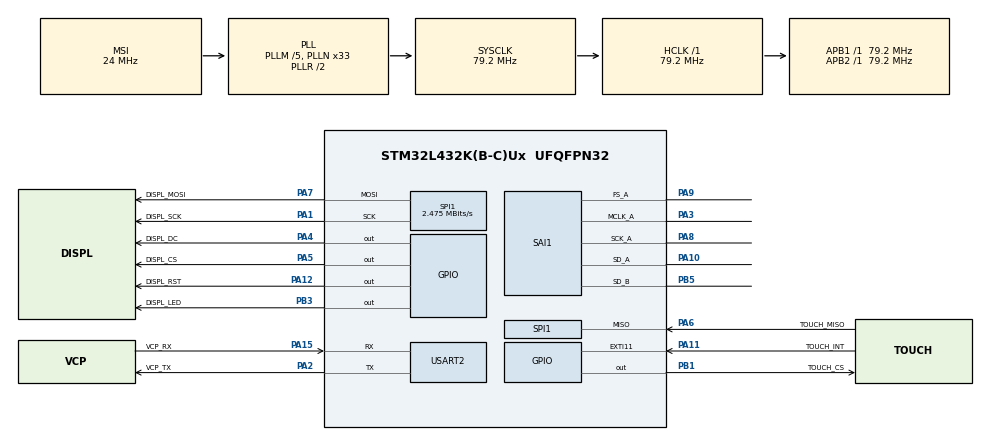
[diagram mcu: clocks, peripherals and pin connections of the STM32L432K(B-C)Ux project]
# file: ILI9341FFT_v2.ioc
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Dma.Request0=SPI1_TX
Dma.Request1=SAI1_A
Dma.Request2=SAI1_B
Dma.SAI1_A.1.Direction=DMA_MEMORY_TO_PERIPH
Dma.SAI1_A.1.Instance=DMA2_Channel1
Dma.SAI1_A.1.MemDataAlignment=DMA_MDATAALIGN_HALFWORD
Dma.SAI1_A.1.MemInc=DMA_MINC_ENABLE
Dma.SAI1_A.1.Mode=DMA_CIRCULAR
Dma.SAI1_A.1.PeriphDataAlignment=DMA_PDATAALIGN_HALFWORD
Dma.SAI1_A.1.PeriphInc=DMA_PINC_DISABLE
Dma.SAI1_A.1.Priority=DMA_PRIORITY_LOW
Dma.SAI1_B.2.Direction=DMA_PERIPH_TO_MEMORY
Dma.SAI1_B.2.Instance=DMA2_Channel2
Dma.SAI1_B.2.MemDataAlignment=DMA_MDATAALIGN_HALFWORD
Dma.SAI1_B.2.MemInc=DMA_MINC_ENABLE
Dma.SAI1_B.2.Mode=DMA_CIRCULAR
Dma.SAI1_B.2.PeriphDataAlignment=DMA_PDATAALIGN_HALFWORD
Dma.SAI1_B.2.PeriphInc=DMA_PINC_DISABLE
Dma.SAI1_B.2.Priority=DMA_PRIORITY_LOW
Dma.SPI1_TX.0.Direction=DMA_MEMORY_TO_PERIPH
Dma.SPI1_TX.0.Instance=DMA1_Channel3
Dma.SPI1_TX.0.MemDataAlignment=DMA_MDATAALIGN_BYTE
Dma.SPI1_TX.0.MemInc=DMA_MINC_ENABLE
Dma.SPI1_TX.0.Mode=DMA_NORMAL
Dma.SPI1_TX.0.PeriphDataAlignment=DMA_PDATAALIGN_BYTE
Dma.SPI1_TX.0.PeriphInc=DMA_PINC_DISABLE
Dma.SPI1_TX.0.Priority=DMA_PRIORITY_LOW
Mcu.Family=STM32L4
Mcu.Name=STM32L432K(B-C)Ux
Mcu.Package=UFQFPN32
NVIC.DMA1_Channel3_IRQn=true\:0\:0\:false\:false\:true\:false\:true\:true
NVIC.DMA2_Channel1_IRQn=true\:0\:0\:false\:false\:true\:false\:true\:true
NVIC.DMA2_Channel2_IRQn=true\:0\:0\:false\:false\:true\:false\:true\:true
NVIC.EXTI15_10_IRQn=true\:0\:0\:false\:false\:true\:true\:true\:true
NVIC.PriorityGroup=NVIC_PRIORITYGROUP_4
NVIC.SAI1_IRQn=true\:0\:0\:false\:false\:true\:true\:true\:true
NVIC.SPI1_IRQn=true\:0\:0\:false\:false\:true\:true\:true\:true
PA0.GPIO_Label=MCO [High speed clock in]
PA0.Mode=HSE-External-Clock-Source-for-LittleOrca
PA0.Signal=RCC_CK_IN
PA1.GPIO_Label=DISPL_SCK
PA1.Mode=Full_Duplex_Master
PA1.Signal=SPI1_SCK
PA10.Mode=SAI_A_MasterWithClock
PA10.Signal=SAI1_SD_A
PA11.GPIO_Label=TOUCH_INT
PA11.GPIO_ModeDefaultEXTI=GPIO_MODE_IT_FALLING
PA11.GPIO_PuPd=GPIO_PULLUP
PA11.Signal=GPXTI11
PA12.GPIO_Label=DISPL_RST
PA12.Signal=GPIO_Output
PA13\ (JTMS-SWDIO).GPIO_Label=SWDIO
PA13\ (JTMS-SWDIO).Mode=Serial_Wire
PA13\ (JTMS-SWDIO).Signal=SYS_JTMS-SWDIO
PA14\ (JTCK-SWCLK).GPIO_Label=SWCLK
PA14\ (JTCK-SWCLK).Mode=Serial_Wire
PA14\ (JTCK-SWCLK).Signal=SYS_JTCK-SWCLK
PA15\ (JTDI).GPIO_Label=VCP_RX
PA15\ (JTDI).Mode=Asynchronous
PA15\ (JTDI).Signal=USART2_RX
PA2.GPIO_Label=VCP_TX
PA2.Mode=Asynchronous
PA2.Signal=USART2_TX
PA3.Mode=SAI_A_MasterWithClock
PA3.Signal=SAI1_MCLK_A
PA4.GPIO_Label=DISPL_DC
PA4.GPIO_Speed=GPIO_SPEED_FREQ_HIGH
PA4.PinState=GPIO_PIN_SET
PA4.Signal=GPIO_Output
PA5.GPIO_Label=DISPL_CS
PA5.GPIO_Speed=GPIO_SPEED_FREQ_HIGH
PA5.PinState=GPIO_PIN_SET
PA5.Signal=GPIO_Output
PA6.GPIO_Label=TOUCH_MISO
PA6.Mode=Full_Duplex_Master
PA6.Signal=SPI1_MISO
PA7.GPIO_Label=DISPL_MOSI
PA7.Mode=Full_Duplex_Master
PA7.Signal=SPI1_MOSI
PA8.Mode=SAI_A_MasterWithClock
PA8.Signal=SAI1_SCK_A
PA9.Mode=SAI_A_MasterWithClock
PA9.Signal=SAI1_FS_A
PB1.GPIO_Label=TOUCH_CS
PB1.GPIO_Speed=GPIO_SPEED_FREQ_HIGH
PB1.PinState=GPIO_PIN_SET
PB1.Signal=GPIO_Output
PB3\ (JTDO-TRACESWO).GPIO_Label=DISPL_LED
PB3\ (JTDO-TRACESWO).Signal=GPIO_Output
PB5.Mode=SAI_B_SyncSlave
PB5.Signal=SAI1_SD_B
PC14-OSC32_IN\ (PC14).Mode=LSE-External-Oscillator
PC14-OSC32_IN\ (PC14).Signal=RCC_OSC32_IN
PC15-OSC32_OUT\ (PC15).Mode=LSE-External-Oscillator
PC15-OSC32_OUT\ (PC15).Signal=RCC_OSC32_OUT
ProjectManager.HeapSize=0x200
ProjectManager.StackSize=0x400
ProjectManager.TargetToolchain=STM32CubeIDE
RCC.ADCFreq_Value=153600000
RCC.AHBFreq_Value=79200000
RCC.APB1Freq_Value=79200000
RCC.APB1TimFreq_Value=79200000
RCC.APB2Freq_Value=79200000
RCC.APB2TimFreq_Value=79200000
RCC.CortexFreq_Value=79200000
RCC.HCLKFreq_Value=79200000
RCC.HSE_VALUE=8000000
RCC.HSI16_VALUE=16000000
RCC.HSI48_VALUE=48000000
RCC.HSI_VALUE=16000000
RCC.MSIClockRange=RCC_MSIRANGE_9
RCC.MSI_VALUE=24000000
RCC.PLLM=5
RCC.PLLMUL=RCC_PLLMUL_4
RCC.PLLN=33
RCC.PLLSAI1N=64
RCC.PLLSAI1P=RCC_PLLP_DIV25
RCC.SYSCLKFreq_VALUE=79200000
RCC.SYSCLKSource=RCC_SYSCLKSOURCE_PLLCLK
RCC.USBFreq_Value=153600000
RCC.VCOOutputFreq_Value=158400000
SAI1.AudioFrequency-SAI_A_MasterWithClock=SAI_AUDIO_FREQUENCY_48K
SAI1.ErrorAudioFreq-SAI_A_MasterWithClock=0.0 %
SAI1.InitProtocol-SAI_A_MasterWithClock=Enable
SAI1.InitProtocol-SAI_B_SyncSlave=Enable
SAI1.Instance-SAI_A_MasterWithClock=SAI$Index_Block_A
SAI1.Instance-SAI_B_SyncSlave=SAI$Index_Block_B
SAI1.MClockEnable-SAI_A_MasterWithClock=SAI_MASTERCLOCK_ENABLE
SAI1.RealAudioFreq-SAI_A_MasterWithClock=48.0 KHz
SAI1.VirtualMode-SAI_A_MasterWithClock=VM_MASTER
SAI1.VirtualMode-SAI_B_SyncSlave=VM_SLAVE
SAI1.VirtualProtocol-SAI_A_BASIC=VM_BASIC_PROTOCOL
SAI1.VirtualProtocol-SAI_B_BASIC=VM_BASIC_PROTOCOL
SPI1.BaudRatePrescaler=SPI_BAUDRATEPRESCALER_32
SPI1.CalculateBaudRate=2.475 MBits/s
SPI1.DataSize=SPI_DATASIZE_8BIT
SPI1.Direction=SPI_DIRECTION_2LINES
SPI1.Mode=SPI_MODE_MASTER
SPI1.VirtualType=VM_MASTER
USART2.VirtualMode-Asynchronous=VM_ASYNC
VP_SAI1_VP_$IpInstance_SAIA_SAI_BASIC.Mode=SAI_A_BASIC
VP_SAI1_VP_$IpInstance_SAIB_SAI_BASIC.Mode=SAI_B_BASIC
board=NUCLEO-L432KC

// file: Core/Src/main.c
/* USER CODE BEGIN Header */
/**
 ******************************************************************************
 * @file           : main.c
 * @brief          : Main program body
 ******************************************************************************
 * @attention
 *
 * Copyright (c) 2024 STMicroelectronics.
 * All rights reserved.
 *
 * This software is licensed under terms that can be found in the LICENSE file
 * in the root directory of this software component.
 * If no LICENSE file comes with this software, it is provided AS-IS.
 *
 ******************************************************************************
 */
/* USER CODE END Header */
#include "main.h"

/* USER CODE BEGIN Includes */
#include "dma.h"
#include "windows.h"
#include "displayFFT.h"
#include "colors.h"
/* USER CODE END Includes */

/* USER CODE BEGIN PD */
#define VU_GAIN 3.17 //in order to calibrate the VU meter (0dB = 0.775 Vrms)
/* USER CODE END PD */

SAI_HandleTypeDef hsai_BlockA1;
SAI_HandleTypeDef hsai_BlockB1;
DMA_HandleTypeDef hdma_sai1_a;
DMA_HandleTypeDef hdma_sai1_b;

SPI_HandleTypeDef hspi1;
DMA_HandleTypeDef hdma_spi1_tx;

UART_HandleTypeDef huart2;

/* USER CODE BEGIN PV */
int16_t saiTx_buf[SAI_BUF_LEN];
int16_t saiRx_buf[SAI_BUF_LEN];
q63_t PowerLeft, PowerRight;
float PwrAvgLeft, PwrAvgRight;
volatile int powerComputed = 0;
arm_rfft_fast_instance_f32 fft_instance;
volatile int fft_data_request = 1;
float32_t inputLeftFFT[BUFFER_SIZE], inputRightFFT[BUFFER_SIZE];
float32_t outputFFT[BUFFER_SIZE];
uint32_t lastTouchTick;
enum displayFFTstyle_t style = LINEAR;
fftDisplay_t fftDisplayLeft, fftDisplayRight;
float32_t octValuesLeft[NOCTAVES], octValuesRight[NOCTAVES];
/* USER CODE END PV */

void SystemClock_Config(void);
void PeriphCommonClock_Config(void);
static void MX_GPIO_Init(void);
static void MX_DMA_Init(void);
static void MX_USART2_UART_Init(void);
static void MX_SPI1_Init(void);
static void MX_SAI1_Init(void);
/* USER CODE BEGIN PFP */
void processData(int16_t *saiRxBuffer, int16_t *saiTxBuffer);
/* USER CODE END PFP */

int main(void) {

	/* MCU Configuration--------------------------------------------------------*/

	/* Reset of all peripherals, Initializes the Flash interface and the Systick. */
	HAL_Init();

	/* Configure the system clock */
	SystemClock_Config();

	/* Configure the peripherals common clocks */
	PeriphCommonClock_Config();

	/* Initialize all configured peripherals */
	MX_GPIO_Init();
	MX_DMA_Init();
	MX_USART2_UART_Init();
	MX_SPI1_Init();
	MX_SAI1_Init();
	/* USER CODE BEGIN 2 */
	Displ_Init(Displ_Orientat_90);
	Displ_CLS(BACKGROUND_COLOR);
	Displ_BackLight('F');
	HAL_SAI_Transmit_DMA(&hsai_BlockA1, (uint8_t*) saiTx_buf, SAI_BUF_LEN);
	HAL_SAI_Receive_DMA(&hsai_BlockB1, (uint8_t*) saiRx_buf, SAI_BUF_LEN);
	arm_rfft_fast_init_f32(&fft_instance, BUFFER_SIZE);

	initFFTdisplay(&fftDisplayLeft, 12, 148, style, octValuesLeft );
	initFFTdisplay(&fftDisplayRight, 172, 148, style, octValuesRight );

	initVUmeter(12, 30);
	initVUmeter(172, 30);

	Displ_CString(12, 112, 148, Font16.Height + 114, "Left", Font16, 1, TEXT_COLOR, BACKGROUND_COLOR);
	Displ_CString(172, 112, 308, Font16.Height + 114, "Right", Font16, 1, TEXT_COLOR, BACKGROUND_COLOR);

	/* USER CODE END 2 */

	/* Infinite loop */
	/* USER CODE BEGIN WHILE */
	while (1) {
		if (!fft_data_request) {
			arm_mult_f32(inputLeftFFT, KAISER_WINDOW, inputLeftFFT, BUFFER_SIZE);
			arm_rfft_fast_f32(&fft_instance, inputLeftFFT, outputFFT, 0);
			displayFFTdata(&fftDisplayLeft, outputFFT);
			arm_mult_f32(inputRightFFT, KAISER_WINDOW, inputRightFFT, BUFFER_SIZE);
			arm_rfft_fast_f32(&fft_instance, inputRightFFT, outputFFT, 0);
			displayFFTdata(&fftDisplayRight, outputFFT);
			fft_data_request = 1;
		}

		if (powerComputed) {
			q15_t PwrLeft = PowerLeft >> 15;
			q15_t PwrRight = PowerRight >> 15;
			q15_t VeffLeft, VeffRight;
			arm_sqrt_q15(PwrLeft, &VeffLeft);
			arm_sqrt_q15(PwrRight, &VeffRight);
			PwrAvgLeft = 0.93 * PwrAvgLeft + 0.07 * VU_GAIN / 32768 * (float32_t) (VeffLeft);
			PwrAvgRight = 0.93 * PwrAvgRight + 0.07 * VU_GAIN / 32768 * (float32_t) (VeffRight);
			displayVUmeter(12, 30, (int) 100.0 * PwrAvgLeft);
			displayVUmeter(172, 30, (int) 100.0 * PwrAvgRight);
			powerComputed = 0;

		}
		if (HAL_GetTick() - lastTouchTick > 20) {
			if (Touch_GotATouch(1)) {
				if (Touch_In_XY_area(12, 148, 135, 60) || Touch_In_XY_area(172, 148, 135, 60)) {
					if (style == LINEAR) {
						style = OCTAVE;
						fftDisplayLeft.style = OCTAVE;
						redrawFFTdisplay(&fftDisplayLeft);
						fftDisplayRight.style = OCTAVE;
						redrawFFTdisplay(&fftDisplayRight);
					} else {
						style = LINEAR;
						fftDisplayLeft.style = LINEAR;
						redrawFFTdisplay(&fftDisplayLeft);
						fftDisplayRight.style = LINEAR;
						redrawFFTdisplay(&fftDisplayRight);
					}
				}
				lastTouchTick = HAL_GetTick();
			}
		}
		/* USER CODE END WHILE */

	}
}

void SystemClock_Config(void) {
	RCC_OscInitTypeDef RCC_OscInitStruct = { 0 };
	RCC_ClkInitTypeDef RCC_ClkInitStruct = { 0 };

	/** Configure the main internal regulator output voltage
	 */
	if (HAL_PWREx_ControlVoltageScaling(PWR_REGULATOR_VOLTAGE_SCALE1) != HAL_OK) {
		Error_Handler();
	}

	/** Configure LSE Drive Capability
	 */
	HAL_PWR_EnableBkUpAccess();
	__HAL_RCC_LSEDRIVE_CONFIG(RCC_LSEDRIVE_LOW);

	/** Initializes the RCC Oscillators according to the specified parameters
	 * in the RCC_OscInitTypeDef structure.
	 */
	RCC_OscInitStruct.OscillatorType = RCC_OSCILLATORTYPE_LSE | RCC_OSCILLATORTYPE_MSI;
	RCC_OscInitStruct.LSEState = RCC_LSE_ON;
	RCC_OscInitStruct.MSIState = RCC_MSI_ON;
	RCC_OscInitStruct.MSICalibrationValue = 0;
	RCC_OscInitStruct.MSIClockRange = RCC_MSIRANGE_9;
	RCC_OscInitStruct.PLL.PLLState = RCC_PLL_ON;
	RCC_OscInitStruct.PLL.PLLSource = RCC_PLLSOURCE_MSI;
	RCC_OscInitStruct.PLL.PLLM = 5;
	RCC_OscInitStruct.PLL.PLLN = 33;
	RCC_OscInitStruct.PLL.PLLP = RCC_PLLP_DIV7;
	RCC_OscInitStruct.PLL.PLLQ = RCC_PLLQ_DIV2;
	RCC_OscInitStruct.PLL.PLLR = RCC_PLLR_DIV2;
	if (HAL_RCC_OscConfig(&RCC_OscInitStruct) != HAL_OK) {
		Error_Handler();
	}

	/** Initializes the CPU, AHB and APB buses clocks
	 */
	RCC_ClkInitStruct.ClockType = RCC_CLOCKTYPE_HCLK | RCC_CLOCKTYPE_SYSCLK | RCC_CLOCKTYPE_PCLK1 | RCC_CLOCKTYPE_PCLK2;
	RCC_ClkInitStruct.SYSCLKSource = RCC_SYSCLKSOURCE_PLLCLK;
	RCC_ClkInitStruct.AHBCLKDivider = RCC_SYSCLK_DIV1;
	RCC_ClkInitStruct.APB1CLKDivider = RCC_HCLK_DIV1;
	RCC_ClkInitStruct.APB2CLKDivider = RCC_HCLK_DIV1;

	if (HAL_RCC_ClockConfig(&RCC_ClkInitStruct, FLASH_LATENCY_4) != HAL_OK) {
		Error_Handler();
	}

	/** Enable MSI Auto calibration
	 */
	HAL_RCCEx_EnableMSIPLLMode();
}

void PeriphCommonClock_Config(void) {
	RCC_PeriphCLKInitTypeDef PeriphClkInit = { 0 };

	/** Initializes the peripherals clock
	 */
	PeriphClkInit.PeriphClockSelection = RCC_PERIPHCLK_SAI1;
	PeriphClkInit.Sai1ClockSelection = RCC_SAI1CLKSOURCE_PLLSAI1;
	PeriphClkInit.PLLSAI1.PLLSAI1Source = RCC_PLLSOURCE_MSI;
	PeriphClkInit.PLLSAI1.PLLSAI1M = 5;
	PeriphClkInit.PLLSAI1.PLLSAI1N = 64;
	PeriphClkInit.PLLSAI1.PLLSAI1P = RCC_PLLP_DIV25;
	PeriphClkInit.PLLSAI1.PLLSAI1Q = RCC_PLLQ_DIV2;
	PeriphClkInit.PLLSAI1.PLLSAI1R = RCC_PLLR_DIV2;
	PeriphClkInit.PLLSAI1.PLLSAI1ClockOut = RCC_PLLSAI1_SAI1CLK;
	if (HAL_RCCEx_PeriphCLKConfig(&PeriphClkInit) != HAL_OK) {
		Error_Handler();
	}
}

static void MX_SAI1_Init(void) {

	hsai_BlockA1.Instance = SAI1_Block_A;
	hsai_BlockA1.Init.AudioMode = SAI_MODEMASTER_TX;
	hsai_BlockA1.Init.Synchro = SAI_ASYNCHRONOUS;
	hsai_BlockA1.Init.OutputDrive = SAI_OUTPUTDRIVE_DISABLE;
	hsai_BlockA1.Init.NoDivider = SAI_MASTERDIVIDER_ENABLE;
	hsai_BlockA1.Init.FIFOThreshold = SAI_FIFOTHRESHOLD_EMPTY;
	hsai_BlockA1.Init.AudioFrequency = SAI_AUDIO_FREQUENCY_48K;
	hsai_BlockA1.Init.SynchroExt = SAI_SYNCEXT_DISABLE;
	hsai_BlockA1.Init.MonoStereoMode = SAI_STEREOMODE;
	hsai_BlockA1.Init.CompandingMode = SAI_NOCOMPANDING;
	hsai_BlockA1.Init.TriState = SAI_OUTPUT_NOTRELEASED;
	if (HAL_SAI_InitProtocol(&hsai_BlockA1, SAI_I2S_STANDARD, SAI_PROTOCOL_DATASIZE_16BIT, 2) != HAL_OK) {
		Error_Handler();
	}
	hsai_BlockB1.Instance = SAI1_Block_B;
	hsai_BlockB1.Init.AudioMode = SAI_MODESLAVE_RX;
	hsai_BlockB1.Init.Synchro = SAI_SYNCHRONOUS;
	hsai_BlockB1.Init.OutputDrive = SAI_OUTPUTDRIVE_DISABLE;
	hsai_BlockB1.Init.FIFOThreshold = SAI_FIFOTHRESHOLD_EMPTY;
	hsai_BlockB1.Init.SynchroExt = SAI_SYNCEXT_DISABLE;
	hsai_BlockB1.Init.MonoStereoMode = SAI_STEREOMODE;
	hsai_BlockB1.Init.CompandingMode = SAI_NOCOMPANDING;
	hsai_BlockB1.Init.TriState = SAI_OUTPUT_NOTRELEASED;
	if (HAL_SAI_InitProtocol(&hsai_BlockB1, SAI_I2S_STANDARD, SAI_PROTOCOL_DATASIZE_16BIT, 2) != HAL_OK) {
		Error_Handler();
	}

}

static void MX_SPI1_Init(void) {

	/* SPI1 parameter configuration*/
	hspi1.Instance = SPI1;
	hspi1.Init.Mode = SPI_MODE_MASTER;
	hspi1.Init.Direction = SPI_DIRECTION_2LINES;
	hspi1.Init.DataSize = SPI_DATASIZE_8BIT;
	hspi1.Init.CLKPolarity = SPI_POLARITY_LOW;
	hspi1.Init.CLKPhase = SPI_PHASE_1EDGE;
	hspi1.Init.NSS = SPI_NSS_SOFT;
	hspi1.Init.BaudRatePrescaler = SPI_BAUDRATEPRESCALER_32;
	hspi1.Init.FirstBit = SPI_FIRSTBIT_MSB;
	hspi1.Init.TIMode = SPI_TIMODE_DISABLE;
	hspi1.Init.CRCCalculation = SPI_CRCCALCULATION_DISABLE;
	hspi1.Init.CRCPolynomial = 7;
	hspi1.Init.CRCLength = SPI_CRC_LENGTH_DATASIZE;
	hspi1.Init.NSSPMode = SPI_NSS_PULSE_ENABLE;
	if (HAL_SPI_Init(&hspi1) != HAL_OK) {
		Error_Handler();
	}

}

static void MX_USART2_UART_Init(void) {

	huart2.Instance = USART2;
	huart2.Init.BaudRate = 115200;
	huart2.Init.WordLength = UART_WORDLENGTH_8B;
	huart2.Init.StopBits = UART_STOPBITS_1;
	huart2.Init.Parity = UART_PARITY_NONE;
	huart2.Init.Mode = UART_MODE_TX_RX;
	huart2.Init.HwFlowCtl = UART_HWCONTROL_NONE;
	huart2.Init.OverSampling = UART_OVERSAMPLING_16;
	huart2.Init.OneBitSampling = UART_ONE_BIT_SAMPLE_DISABLE;
	huart2.AdvancedInit.AdvFeatureInit = UART_ADVFEATURE_NO_INIT;
	if (HAL_UART_Init(&huart2) != HAL_OK) {
		Error_Handler();
	}

}

static void MX_DMA_Init(void) {

	/* DMA controller clock enable */
	__HAL_RCC_DMA1_CLK_ENABLE();
	__HAL_RCC_DMA2_CLK_ENABLE();

	/* DMA interrupt init */
	/* DMA1_Channel3_IRQn interrupt configuration */
	HAL_NVIC_SetPriority(DMA1_Channel3_IRQn, 0, 0);
	HAL_NVIC_EnableIRQ(DMA1_Channel3_IRQn);
	/* DMA2_Channel1_IRQn interrupt configuration */
	HAL_NVIC_SetPriority(DMA2_Channel1_IRQn, 0, 0);
	HAL_NVIC_EnableIRQ(DMA2_Channel1_IRQn);
	/* DMA2_Channel2_IRQn interrupt configuration */
	HAL_NVIC_SetPriority(DMA2_Channel2_IRQn, 0, 0);
	HAL_NVIC_EnableIRQ(DMA2_Channel2_IRQn);

}

static void MX_GPIO_Init(void) {
	GPIO_InitTypeDef GPIO_InitStruct = { 0 };

	/* GPIO Ports Clock Enable */
	__HAL_RCC_GPIOC_CLK_ENABLE();
	__HAL_RCC_GPIOA_CLK_ENABLE();
	__HAL_RCC_GPIOB_CLK_ENABLE();

	/*Configure GPIO pin Output Level */
	HAL_GPIO_WritePin(GPIOA, DISPL_DC_Pin | DISPL_CS_Pin, GPIO_PIN_SET);

	/*Configure GPIO pin Output Level */
	HAL_GPIO_WritePin(TOUCH_CS_GPIO_Port, TOUCH_CS_Pin, GPIO_PIN_SET);

	/*Configure GPIO pin Output Level */
	HAL_GPIO_WritePin(DISPL_RST_GPIO_Port, DISPL_RST_Pin, GPIO_PIN_RESET);

	/*Configure GPIO pin Output Level */
	HAL_GPIO_WritePin(DISPL_LED_GPIO_Port, DISPL_LED_Pin, GPIO_PIN_RESET);

	/*Configure GPIO pins : DISPL_DC_Pin DISPL_CS_Pin */
	GPIO_InitStruct.Pin = DISPL_DC_Pin | DISPL_CS_Pin;
	GPIO_InitStruct.Mode = GPIO_MODE_OUTPUT_PP;
	GPIO_InitStruct.Pull = GPIO_NOPULL;
	GPIO_InitStruct.Speed = GPIO_SPEED_FREQ_HIGH;
	HAL_GPIO_Init(GPIOA, &GPIO_InitStruct);

	/*Configure GPIO pin : TOUCH_CS_Pin */
	GPIO_InitStruct.Pin = TOUCH_CS_Pin;
	GPIO_InitStruct.Mode = GPIO_MODE_OUTPUT_PP;
	GPIO_InitStruct.Pull = GPIO_NOPULL;
	GPIO_InitStruct.Speed = GPIO_SPEED_FREQ_HIGH;
	HAL_GPIO_Init(TOUCH_CS_GPIO_Port, &GPIO_InitStruct);

	/*Configure GPIO pin : TOUCH_INT_Pin */
	GPIO_InitStruct.Pin = TOUCH_INT_Pin;
	GPIO_InitStruct.Mode = GPIO_MODE_IT_FALLING;
	GPIO_InitStruct.Pull = GPIO_PULLUP;
	HAL_GPIO_Init(TOUCH_INT_GPIO_Port, &GPIO_InitStruct);

	/*Configure GPIO pin : DISPL_RST_Pin */
	GPIO_InitStruct.Pin = DISPL_RST_Pin;
	GPIO_InitStruct.Mode = GPIO_MODE_OUTPUT_PP;
	GPIO_InitStruct.Pull = GPIO_NOPULL;
	GPIO_InitStruct.Speed = GPIO_SPEED_FREQ_LOW;
	HAL_GPIO_Init(DISPL_RST_GPIO_Port, &GPIO_InitStruct);

	/*Configure GPIO pin : DISPL_LED_Pin */
	GPIO_InitStruct.Pin = DISPL_LED_Pin;
	GPIO_InitStruct.Mode = GPIO_MODE_OUTPUT_PP;
	GPIO_InitStruct.Pull = GPIO_NOPULL;
	GPIO_InitStruct.Speed = GPIO_SPEED_FREQ_LOW;
	HAL_GPIO_Init(DISPL_LED_GPIO_Port, &GPIO_InitStruct);

	/* EXTI interrupt init*/
	HAL_NVIC_SetPriority(EXTI15_10_IRQn, 0, 0);
	HAL_NVIC_EnableIRQ(EXTI15_10_IRQn);

}

/* USER CODE BEGIN 4 */
void HAL_SAI_RxCpltCallback(SAI_HandleTypeDef *hsai) {
	processData(&saiRx_buf[SAI_BUF_LEN / 2], &saiTx_buf[SAI_BUF_LEN / 2]);
}

void HAL_SAI_RxHalfCpltCallback(SAI_HandleTypeDef *hsai) {
	processData(&saiRx_buf[0], &saiTx_buf[0]);
}

void processData(int16_t *saiRxBuffer, int16_t *saiTxBuffer) {
	uint16_t index1, index2;

	static int16_t inputSignalLeft[BUFFER_SIZE], inputSignalRight[BUFFER_SIZE];
	static int16_t outputSignalLeft[BUFFER_SIZE], outputSignalRight[BUFFER_SIZE];

	// copy RxBuffer to leftSignalBuffer and rightSignalBuffer
	for (index1 = 0, index2 = 0; index1 < BUFFER_SIZE; index1++) {
		inputSignalRight[index1] = saiRxBuffer[index2++];
		inputSignalLeft[index1] = saiRxBuffer[index2++];
	}

	// Here, the data of inputSignalLeft[] and inputSignalRight[] can be processed
	// The result should be stored in outputSignalLeft[] and outpuSignalRight[].
	// Note that the arrays contain BUFFER_SIZE values each

	// copy input to output
	arm_copy_q15(inputSignalLeft, outputSignalLeft, BUFFER_SIZE);
	arm_copy_q15(inputSignalRight, outputSignalRight, BUFFER_SIZE);

	// determine power
	arm_dot_prod_q15(inputSignalLeft, inputSignalLeft, BUFFER_SIZE, &PowerLeft);
	PowerLeft = PowerLeft >> LOG2_BUFFERSIZE;
	arm_dot_prod_q15(inputSignalRight, inputSignalRight, BUFFER_SIZE, &PowerRight);
	PowerRight = PowerRight >> LOG2_BUFFERSIZE;
	powerComputed = 1;

	// load new data for fft if requested
	if (fft_data_request) {
		arm_q15_to_float(inputSignalLeft, inputLeftFFT, BUFFER_SIZE);
		arm_q15_to_float(inputSignalRight, inputRightFFT, BUFFER_SIZE);
		fft_data_request = 0;
	}

	// copy left and right txBuffer into TxBuffer
	for (index1 = 0, index2 = 0; index1 < BUFFER_SIZE; index1++) {
		saiTxBuffer[index2++] = outputSignalRight[index1];
		saiTxBuffer[index2++] = outputSignalLeft[index1];
	}
}
/* USER CODE END 4 */

void Error_Handler(void) {
	__disable_irq();
	while (1) {
	}
}
